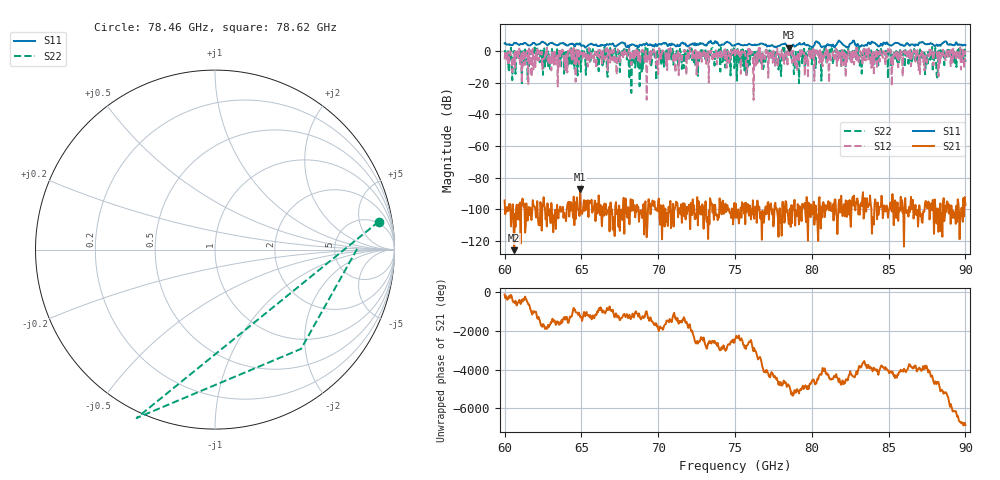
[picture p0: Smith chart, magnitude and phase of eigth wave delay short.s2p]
!Created with skrf (http://scikit-rf.org).
# GHz S RI R 50.0
!freq ReS11 ImS11 ReS21 ImS21 ReS12 ImS12 ReS22 ImS22
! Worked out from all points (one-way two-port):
!   721 points, 60 GHz to 90 GHz, reference 50 ohm
!   highest |S21| = -87.32 dB at 64.92 GHz (marker M1); lowest = -125.8 dB at 60.62 GHz (marker M2)
!   lowest |S11| = 2.1 dB at 78.5 GHz (marker M3)
!   |S11| at or under -10 dB: nowhere
!   |S22| runs from -26.4 to 2.7 dB; largest |S21 - S12| = 1.3
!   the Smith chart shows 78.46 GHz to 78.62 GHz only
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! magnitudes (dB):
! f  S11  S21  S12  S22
! 60 GHz  4.9  -94.3  -5.2  0.7
! 60.62 GHz  5.3  -125.8  -1.4  0.1
! 64.92 GHz  4.8  -87.3  -1.7  -0.4
! 65 GHz  3.3  -101.4  -1.0  -5.6
! 67.79 GHz  4.8  -115.4  -2.2  1.4
! 68.21 GHz  3.7  -93.6  -1.0  -1.5
! 69.25 GHz  5.1  -117.6  -30.7  -1.6
! 69.71 GHz  3.6  -97.9  1.2  2.2
! 70 GHz  4.1  -94.7  -14.4  -0.9
! 75 GHz  3.6  -105.3  -2.6  -0.3
! 76 GHz  4.3  -99.4  -2.7  -3.2
! 76.33 GHz  4.1  -98.1  -10.3  0.6
! 77 GHz  4.3  -98.1  0.8  -5.5
! 78.5 GHz  2.1  -109.2  -3.3  0.3
! 79.38 GHz  4.3  -96.5  0.6  -7.6
! 79.67 GHz  3.7  -92.2  -8.3  -7.3
! 80 GHz  2.5  -103.3  -4.1  -8.3
! 81.21 GHz  4.0  -95.8  -3.5  -1.0
! 83.67 GHz  5.4  -98.7  -5.3  1.0
! 83.96 GHz  5.5  -105.6  -10.8  -5.0
! 85 GHz  4.1  -100.5  -1.3  0.8
! 90 GHz  3.8  -97.2  0.6  -6.8
